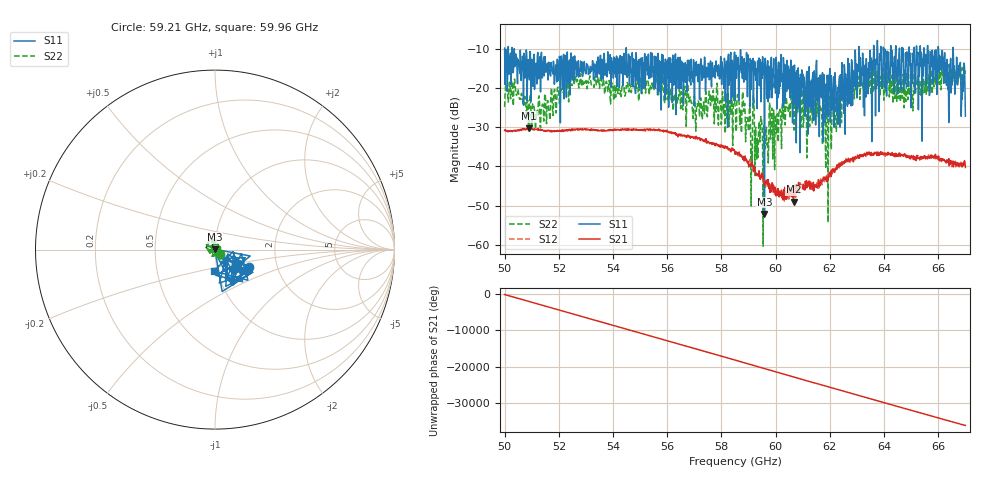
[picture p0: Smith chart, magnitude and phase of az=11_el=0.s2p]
!Created with skrf (http://scikit-rf.org).
# GHz S RI R 50.0
!freq ReS11 ImS11 ReS21 ImS21 ReS12 ImS12 ReS22 ImS22
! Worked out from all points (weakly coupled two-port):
!   1001 points, 50 GHz to 67 GHz, reference 50 ohm
!   highest |S21| = -30.26 dB at 50.9 GHz (marker M1); lowest = -49.0 dB at 60.66 GHz (marker M2)
!   lowest |S11| = -52.1 dB at 59.59 GHz (marker M3), VSWR 1.00, Z = 49.9 + j0.231 ohm
!   |S11| at or under -10 dB: 50.36 GHz to 54.49 GHz (4.13 GHz wide, 7.88 % of centre); 54.49 GHz to 63.07 GHz (8.582 GHz wide, 14.6 % of centre); 63.08 GHz to 63.61 GHz (537.9 MHz wide, 0.849 % of centre) (the widest 3 of 23)
!   |S22| runs from -60.4 to -14.0 dB; largest |S21 - S12| = 0.0021
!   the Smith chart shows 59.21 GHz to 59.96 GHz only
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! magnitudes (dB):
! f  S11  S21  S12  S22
! 50 GHz  -9.8  -30.8  -30.7  -24.8
! 50.42 GHz  -13.8  -30.9  -30.8  -21.8
! 50.9 GHz  -16.1  -30.3  -30.3  -28.9
! 52.84 GHz  -14.1  -30.6  -30.5  -19.5
! 55.68 GHz  -13.2  -30.6  -30.5  -22.1
! 57 GHz  -24.5  -32.5  -32.7  -22.0
! 57.62 GHz  -15.4  -34.0  -34.2  -21.9
! 58.5 GHz  -23.2  -36.9  -36.3  -24.3
! 59.59 GHz  -52.1  -44.9  -44.0  -30.0
! 59.84 GHz  -12.2  -45.6  -45.7  -25.6
! 60.03 GHz  -14.5  -46.4  -45.5  -31.5
! 60.66 GHz  -16.6  -49.0  -45.4  -24.3
! 61.34 GHz  -25.1  -45.0  -45.9  -25.8
! 62 GHz  -15.1  -42.1  -42.1  -25.0
! 62.6 GHz  -19.8  -38.1  -38.4  -19.1
! 63.01 GHz  -22.5  -37.8  -37.7  -20.1
! 63.33 GHz  -22.3  -37.0  -37.5  -19.3
! 64.18 GHz  -17.9  -36.8  -36.9  -18.4
! 66.08 GHz  -15.1  -38.1  -39.0  -15.7
! 66.42 GHz  -15.7  -39.2  -38.6  -16.2
! 66.75 GHz  -17.3  -40.0  -40.0  -18.2
! 67 GHz  -27.2  -40.3  -39.6  -15.5
